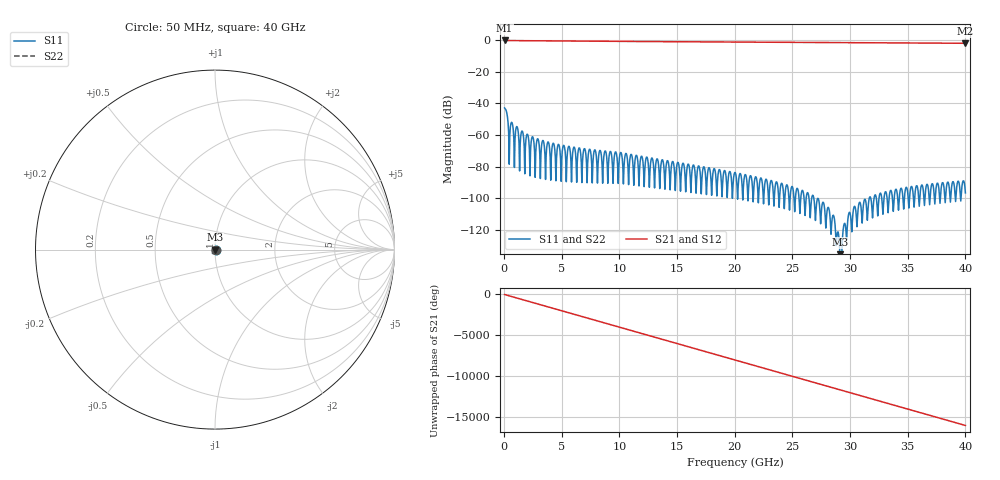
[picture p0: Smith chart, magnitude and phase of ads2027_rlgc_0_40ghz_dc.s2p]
! Golden reference: real Keysight ADS 2027 hpeesofsim AC solve
! Circuit: ideal 50-ohm source, frequency-dependent RLGC transmission line,
!  50-ohm load. S11=(Vin/Vs_inc)-1, S21=Vout/Vs_inc with Vs=2 V (incident 1 V).
! RLGC (per metre, linear-in-freq pwl): R=8/12/25/45 ohm/m at 0.1/1/10/40 GHz,
!  L=222.222222 nH/m, G=0.002/0.02 S/m at 0.1/40 GHz, C=88.888889 pF/m.
! Line: L=0.25 m, Z0=50 ohm nominal. Symmetric and reciprocal by construction.
! NOTE: single-ended 2-port. This is NOT a coupled differential channel.
! Provenance: rlgc_dc.ckt + rlgc_dc.ds + rlgc_dc.out alongside this file.
# GHz S MA R 50
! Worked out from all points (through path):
!   800 points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, 50 MHz to 40 GHz, reference 50 ohm
!   highest |S21| = -0.28 dB at 50 MHz (marker M1); lowest = -2.1 dB at 40 GHz (marker M2)
!   group delay of S21, straight-line fit = 1.11 ns
!   lowest |S11| = -152.4 dB at 29.15 GHz (marker M3), VSWR 1.00, Z = 50 - j1.9e-06 ohm
!   |S11| at or under -10 dB: start of sweep to end of sweep
!   |S22| runs from -152.4 to -43.0 dB; largest |S21 - S12| = 0
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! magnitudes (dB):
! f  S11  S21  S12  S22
! 50 MHz  -43.0  -0.3  -0.3  -43.0
! 150 MHz  -44.0  -0.3  -0.3  -44.0
! 200 MHz  -44.9  -0.3  -0.3  -44.9
! 250 MHz  -46.4  -0.3  -0.3  -46.4
! 300 MHz  -48.7  -0.3  -0.3  -48.7
! 400 MHz  -58.5  -0.3  -0.3  -58.5
! 500 MHz  -59.8  -0.3  -0.3  -59.8
! 650 MHz  -52.0  -0.3  -0.3  -52.0
! 1.55 GHz  -57.5  -0.4  -0.4  -57.5
! 2.45 GHz  -61.1  -0.5  -0.5  -61.1
! 3.35 GHz  -63.5  -0.5  -0.5  -63.5
! 4.7 GHz  -66.0  -0.6  -0.6  -66.0
! 6.75 GHz  -90.1  -0.7  -0.7  -90.1
! 10.2 GHz  -72.3  -0.9  -0.9  -72.3
! 13.4 GHz  -79.0  -1.0  -1.0  -79.0
! 14.5 GHz  -80.3  -1.1  -1.1  -80.3
! 16.3 GHz  -82.5  -1.1  -1.1  -82.5
! 20.05 GHz  -83.8  -1.3  -1.3  -83.8
! 26.7 GHz  -99.0  -1.5  -1.5  -99.0
! 29.15 GHz  -152.4  -1.6  -1.6  -152.4
! 33.35 GHz  -103.4  -1.8  -1.8  -103.4
! 40 GHz  -96.6  -2.1  -2.1  -96.6
